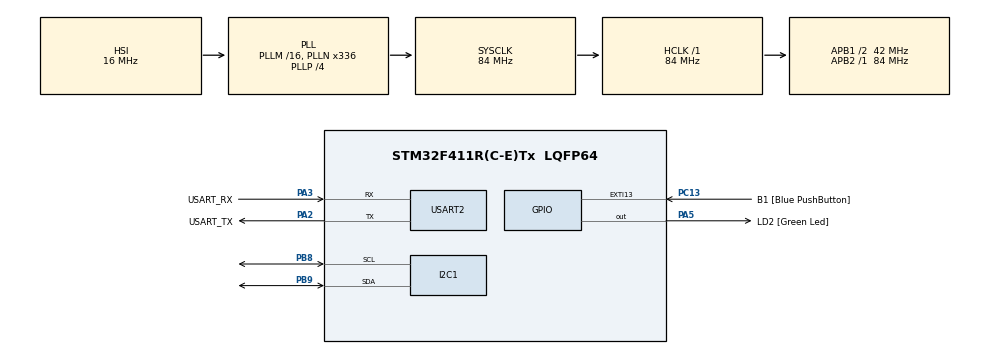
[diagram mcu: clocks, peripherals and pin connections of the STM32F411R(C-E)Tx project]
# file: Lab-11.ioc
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I2C1.I2C_Mode=I2C_Fast
Mcu.Family=STM32F4
Mcu.Name=STM32F411R(C-E)Tx
Mcu.Package=LQFP64
NVIC.I2C1_ER_IRQn=true\:0\:0\:false\:false\:true\:true\:true
NVIC.I2C1_EV_IRQn=true\:0\:0\:false\:false\:true\:true\:true
NVIC.PriorityGroup=NVIC_PRIORITYGROUP_0
PA13.GPIO_Label=TMS
PA13.Mode=Serial_Wire
PA13.Signal=SYS_JTMS-SWDIO
PA14.GPIO_Label=TCK
PA14.Mode=Serial_Wire
PA14.Signal=SYS_JTCK-SWCLK
PA2.GPIO_Label=USART_TX
PA2.Mode=Asynchronous
PA2.Signal=USART2_TX
PA3.GPIO_Label=USART_RX
PA3.Mode=Asynchronous
PA3.Signal=USART2_RX
PA5.GPIO_Label=LD2 [Green Led]
PA5.Signal=GPIO_Output
PB3.GPIO_Label=SWO
PB3.Signal=SYS_JTDO-SWO
PB8.Mode=I2C
PB8.Signal=I2C1_SCL
PB9.Mode=I2C
PB9.Signal=I2C1_SDA
PC13-ANTI_TAMP.GPIO_Label=B1 [Blue PushButton]
PC13-ANTI_TAMP.GPIO_ModeDefaultEXTI=GPIO_MODE_IT_FALLING
PC13-ANTI_TAMP.Signal=GPXTI13
PC14-OSC32_IN.Mode=LSE-External-Oscillator
PC14-OSC32_IN.Signal=RCC_OSC32_IN
PC15-OSC32_OUT.Mode=LSE-External-Oscillator
PC15-OSC32_OUT.Signal=RCC_OSC32_OUT
PH0\ -\ OSC_IN.Mode=HSE-External-Clock-Source
PH0\ -\ OSC_IN.Signal=RCC_OSC_IN
PH1\ -\ OSC_OUT.Mode=HSE-External-Clock-Source
PH1\ -\ OSC_OUT.Signal=RCC_OSC_OUT
ProjectManager.HeapSize=0x200
ProjectManager.StackSize=0x400
ProjectManager.TargetToolchain=STM32CubeIDE
RCC.48MHZClocksFreq_Value=84000000
RCC.AHBFreq_Value=84000000
RCC.APB1CLKDivider=RCC_HCLK_DIV2
RCC.APB1Freq_Value=42000000
RCC.APB1TimFreq_Value=84000000
RCC.APB2Freq_Value=84000000
RCC.APB2TimFreq_Value=84000000
RCC.CortexFreq_Value=84000000
RCC.FLatency-AdvancedSettings=FLASH_LATENCY_2
RCC.HCLKFreq_Value=84000000
RCC.HSE_VALUE=8000000
RCC.HSI_VALUE=16000000
RCC.PLLN=336
RCC.PLLP=RCC_PLLP_DIV4
RCC.SYSCLKFreq_VALUE=84000000
RCC.SYSCLKSource=RCC_SYSCLKSOURCE_PLLCLK
RCC.VCOOutputFreq_Value=336000000
USART2.VirtualMode=VM_ASYNC
board=NUCLEO-F411RE

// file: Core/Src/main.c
/* USER CODE BEGIN Header */
/**
 ******************************************************************************
 * @file           : main.c
 * @brief          : Main program body
 ******************************************************************************
 * @attention
 *
 * <h2><center>&copy; Copyright (c) 2021 STMicroelectronics.
 * All rights reserved.</center></h2>
 *
 * This software component is licensed by ST under BSD 3-Clause license,
 * the "License"; You may not use this file except in compliance with the
 * License. You may obtain a copy of the License at:
 *                        opensource.org/licenses/BSD-3-Clause
 *
 ******************************************************************************
 */
/* USER CODE END Header */
#include "main.h"

/* USER CODE BEGIN PD */
#define EEPROM_ADDR 0b10100000
#define IOEXPD_ADDR 0b01000000
/* USER CODE END PD */

I2C_HandleTypeDef hi2c1;

UART_HandleTypeDef huart2;

/* USER CODE BEGIN PV */
uint8_t eepromExampleWriteFlag = 0;
uint8_t eepromExampleReadFlag = 0;
uint8_t IOExpdrExampleWriteFlag = 0;
uint8_t IOExpdrExampleReadFlag = 0;
uint8_t eepromDataReadBack[4];
uint8_t IOExpdrDataReadBack;
uint8_t IOExpdrDataWrite = 0b00000000;

uint8_t eepromWriteFlag = 0;
uint8_t eepromReadFlag = 0;
uint8_t ButtonArray[2]  = {1,1}; 	//[Now,Past] = [up,up]

typedef enum
{
	Wait_Button,
	Read_IO,
	Write_EPROM,
	Read_EPROM,
	Write_IO
}Transition_State;
/* USER CODE END PV */

void SystemClock_Config(void);
static void MX_GPIO_Init(void);
static void MX_USART2_UART_Init(void);
static void MX_I2C1_Init(void);
/* USER CODE BEGIN PFP */
void EEPROMWriteExample();
void EEPROMReadExample(uint8_t *Rdata, uint16_t len);

void EEPROMWrite(uint8_t Wdata);
void EEPROMRead(uint8_t *Rdata, uint16_t len);

void IOExpenderInit();
void IOExpenderReadPinA(uint8_t *Rdata);
void IOExpenderWritePinB(uint8_t Wdata);

/* USER CODE END PFP */

int main(void)
{

  /* MCU Configuration--------------------------------------------------------*/

  /* Reset of all peripherals, Initializes the Flash interface and the Systick. */
  HAL_Init();

  /* Configure the system clock */
  SystemClock_Config();

  /* Initialize all configured peripherals */
  MX_GPIO_Init();
  MX_USART2_UART_Init();
  MX_I2C1_Init();
  /* USER CODE BEGIN 2 */
  HAL_Delay(100);
  IOExpenderInit();
  /* USER CODE END 2 */

  /* Infinite loop */
  /* USER CODE BEGIN WHILE */
	while (1) {

		static Transition_State State = Read_EPROM;

		switch(State)
		{
			case Wait_Button:
				ButtonArray[1] = ButtonArray[0];
				ButtonArray[0] = HAL_GPIO_ReadPin(B1_GPIO_Port, B1_Pin);
				//when released button
				if(ButtonArray[0] == 1 && ButtonArray[1] == 0)
				{
					State = Read_IO;
				}
				HAL_Delay(50);
				break;

			case Read_IO:
				IOExpdrExampleReadFlag = 1;
				IOExpenderReadPinA(&IOExpdrDataReadBack);
				State = Write_EPROM;
				HAL_Delay(50);
				break;

			case Write_EPROM:
				eepromWriteFlag = 1;
				EEPROMWrite(IOExpdrDataReadBack);
				State = Read_EPROM;
				HAL_Delay(50);
				break;

			case Read_EPROM:
				eepromReadFlag = 1;
				EEPROMRead(eepromDataReadBack, 4);
				State = Write_IO;
				HAL_Delay(50);
				break;

			case Write_IO:
				IOExpdrDataWrite = ( (eepromDataReadBack[0]) | (eepromDataReadBack[1]<<2) | (eepromDataReadBack[2]<<4) | (eepromDataReadBack[3]<<6) );
				IOExpdrExampleWriteFlag = 1;
				IOExpenderWritePinB(IOExpdrDataWrite );
				State = Wait_Button;
				HAL_Delay(50);
				break;
		}

    /* USER CODE END WHILE */

	}
}

void SystemClock_Config(void)
{
  RCC_OscInitTypeDef RCC_OscInitStruct = {0};
  RCC_ClkInitTypeDef RCC_ClkInitStruct = {0};

  /** Configure the main internal regulator output voltage
  */
  __HAL_RCC_PWR_CLK_ENABLE();
  __HAL_PWR_VOLTAGESCALING_CONFIG(PWR_REGULATOR_VOLTAGE_SCALE1);
  /** Initializes the RCC Oscillators according to the specified parameters
  * in the RCC_OscInitTypeDef structure.
  */
  RCC_OscInitStruct.OscillatorType = RCC_OSCILLATORTYPE_HSI;
  RCC_OscInitStruct.HSIState = RCC_HSI_ON;
  RCC_OscInitStruct.HSICalibrationValue = RCC_HSICALIBRATION_DEFAULT;
  RCC_OscInitStruct.PLL.PLLState = RCC_PLL_ON;
  RCC_OscInitStruct.PLL.PLLSource = RCC_PLLSOURCE_HSI;
  RCC_OscInitStruct.PLL.PLLM = 16;
  RCC_OscInitStruct.PLL.PLLN = 336;
  RCC_OscInitStruct.PLL.PLLP = RCC_PLLP_DIV4;
  RCC_OscInitStruct.PLL.PLLQ = 4;
  if (HAL_RCC_OscConfig(&RCC_OscInitStruct) != HAL_OK)
  {
    Error_Handler();
  }
  /** Initializes the CPU, AHB and APB buses clocks
  */
  RCC_ClkInitStruct.ClockType = RCC_CLOCKTYPE_HCLK|RCC_CLOCKTYPE_SYSCLK
                              |RCC_CLOCKTYPE_PCLK1|RCC_CLOCKTYPE_PCLK2;
  RCC_ClkInitStruct.SYSCLKSource = RCC_SYSCLKSOURCE_PLLCLK;
  RCC_ClkInitStruct.AHBCLKDivider = RCC_SYSCLK_DIV1;
  RCC_ClkInitStruct.APB1CLKDivider = RCC_HCLK_DIV2;
  RCC_ClkInitStruct.APB2CLKDivider = RCC_HCLK_DIV1;

  if (HAL_RCC_ClockConfig(&RCC_ClkInitStruct, FLASH_LATENCY_2) != HAL_OK)
  {
    Error_Handler();
  }
}

static void MX_I2C1_Init(void)
{

  hi2c1.Instance = I2C1;
  hi2c1.Init.ClockSpeed = 400000;
  hi2c1.Init.DutyCycle = I2C_DUTYCYCLE_2;
  hi2c1.Init.OwnAddress1 = 0;
  hi2c1.Init.AddressingMode = I2C_ADDRESSINGMODE_7BIT;
  hi2c1.Init.DualAddressMode = I2C_DUALADDRESS_DISABLE;
  hi2c1.Init.OwnAddress2 = 0;
  hi2c1.Init.GeneralCallMode = I2C_GENERALCALL_DISABLE;
  hi2c1.Init.NoStretchMode = I2C_NOSTRETCH_DISABLE;
  if (HAL_I2C_Init(&hi2c1) != HAL_OK)
  {
    Error_Handler();
  }

}

static void MX_USART2_UART_Init(void)
{

  huart2.Instance = USART2;
  huart2.Init.BaudRate = 115200;
  huart2.Init.WordLength = UART_WORDLENGTH_8B;
  huart2.Init.StopBits = UART_STOPBITS_1;
  huart2.Init.Parity = UART_PARITY_NONE;
  huart2.Init.Mode = UART_MODE_TX_RX;
  huart2.Init.HwFlowCtl = UART_HWCONTROL_NONE;
  huart2.Init.OverSampling = UART_OVERSAMPLING_16;
  if (HAL_UART_Init(&huart2) != HAL_OK)
  {
    Error_Handler();
  }

}

static void MX_GPIO_Init(void)
{
  GPIO_InitTypeDef GPIO_InitStruct = {0};

  /* GPIO Ports Clock Enable */
  __HAL_RCC_GPIOC_CLK_ENABLE();
  __HAL_RCC_GPIOH_CLK_ENABLE();
  __HAL_RCC_GPIOA_CLK_ENABLE();
  __HAL_RCC_GPIOB_CLK_ENABLE();

  /*Configure GPIO pin Output Level */
  HAL_GPIO_WritePin(LD2_GPIO_Port, LD2_Pin, GPIO_PIN_RESET);

  /*Configure GPIO pin : B1_Pin */
  GPIO_InitStruct.Pin = B1_Pin;
  GPIO_InitStruct.Mode = GPIO_MODE_IT_FALLING;
  GPIO_InitStruct.Pull = GPIO_NOPULL;
  HAL_GPIO_Init(B1_GPIO_Port, &GPIO_InitStruct);

  /*Configure GPIO pin : LD2_Pin */
  GPIO_InitStruct.Pin = LD2_Pin;
  GPIO_InitStruct.Mode = GPIO_MODE_OUTPUT_PP;
  GPIO_InitStruct.Pull = GPIO_NOPULL;
  GPIO_InitStruct.Speed = GPIO_SPEED_FREQ_LOW;
  HAL_GPIO_Init(LD2_GPIO_Port, &GPIO_InitStruct);

}

/* USER CODE BEGIN 4 */
void EEPROMWriteExample() {
	if (eepromExampleWriteFlag && hi2c1.State == HAL_I2C_STATE_READY) {

		static uint8_t data[4] = { 0xff, 0x00, 0x55, 0xaa };
		HAL_I2C_Mem_Write_IT(&hi2c1, EEPROM_ADDR, 0x2C, I2C_MEMADD_SIZE_16BIT,
				data, 4);

		eepromExampleWriteFlag = 0;
	}
}
void EEPROMReadExample(uint8_t *Rdata, uint16_t len) {
	if (eepromExampleReadFlag && hi2c1.State == HAL_I2C_STATE_READY) {

		HAL_I2C_Mem_Read_IT(&hi2c1, EEPROM_ADDR, 0x2c, I2C_MEMADD_SIZE_16BIT,
				Rdata, len);
		eepromExampleReadFlag = 0;
	}
}

void EEPROMWrite(uint8_t Wdata) {
	if (eepromWriteFlag && hi2c1.State == HAL_I2C_STATE_READY) {

		static uint8_t data[4] = {0};
		data[0] =  Wdata     & 0b00000011;
		data[1] = (Wdata>>2) & 0b00000011;
		data[2] = (Wdata>>4) & 0b00000011;
		data[3] = (Wdata>>6) & 0b00000011;
		HAL_I2C_Mem_Write_IT(&hi2c1, EEPROM_ADDR, 0x01, I2C_MEMADD_SIZE_16BIT,data, 4);

		eepromWriteFlag = 0;
	}
}
void EEPROMRead(uint8_t *Rdata, uint16_t len) {
	if (eepromReadFlag && hi2c1.State == HAL_I2C_STATE_READY) {

		HAL_I2C_Mem_Read_IT(&hi2c1, EEPROM_ADDR, 0x01, I2C_MEMADD_SIZE_16BIT, Rdata, len);
		eepromReadFlag = 0;
	}
}

void IOExpenderInit() {
	//Init All
	static uint8_t Setting[0x16] = { 0xFF, 0x00, 0x00, 0x00, 0x00, 0x00, 0x00,
			0x00, 0x00, 0x00, 0x00, 0x00, 0xFF, 0x00, 0x00, 0x00, 0x00, 0x00,
			0x00, 0x00, 0x00, 0x00 };
	HAL_I2C_Mem_Write(&hi2c1, IOEXPD_ADDR, 0x00, I2C_MEMADD_SIZE_8BIT, Setting,
			0x16, 100);
}
void IOExpenderReadPinA(uint8_t *Rdata) {
	if (IOExpdrExampleReadFlag && hi2c1.State == HAL_I2C_STATE_READY) {
		HAL_I2C_Mem_Read_IT(&hi2c1, IOEXPD_ADDR, 0x12, I2C_MEMADD_SIZE_8BIT,
				Rdata, 1);
		IOExpdrExampleReadFlag =0;
	}
}
void IOExpenderWritePinB(uint8_t Wdata) {
	if (IOExpdrExampleWriteFlag && hi2c1.State == HAL_I2C_STATE_READY) {
		static uint8_t data;
		data = Wdata;
		HAL_I2C_Mem_Write_IT(&hi2c1, IOEXPD_ADDR, 0x15, I2C_MEMADD_SIZE_8BIT,
				&data, 1);
		IOExpdrExampleWriteFlag=0;
	}
}
/* USER CODE END 4 */

void Error_Handler(void)
{
	__disable_irq();
	while (1) {
	}
}

/************************ (C) COPYRIGHT STMicroelectronics *****END OF FILE****/
